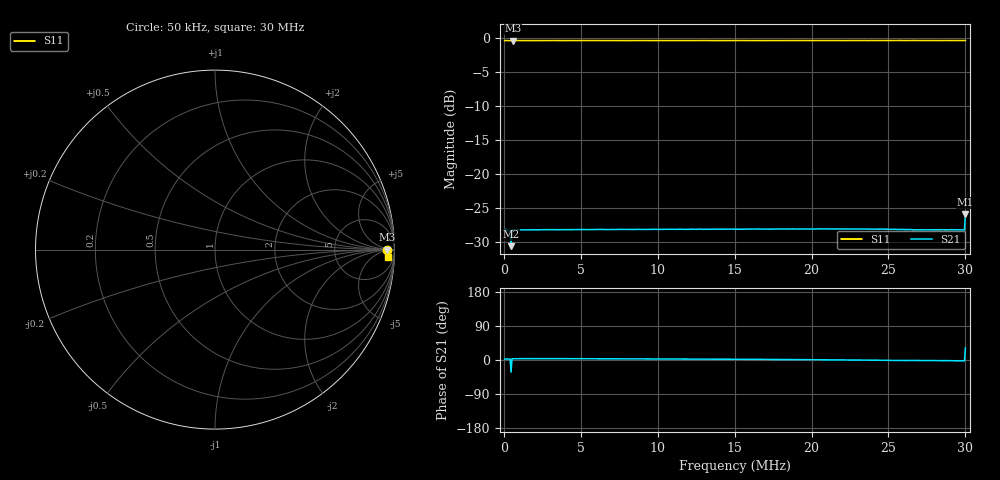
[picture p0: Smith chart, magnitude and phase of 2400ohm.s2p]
# HZ S RI R 50
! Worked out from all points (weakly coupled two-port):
!   501 points, 50 kHz to 30 MHz, reference 50 ohm
!   highest |S21| = -25.86 dB at 30 MHz (marker M1); lowest = -30.6 dB at 469.3 kHz (marker M2)
!   lowest |S11| = -0.4 dB at 589.1 kHz (marker M3), VSWR 48.28, Z = 2.41e+03 - j53.6 ohm
!   |S11| at or under -10 dB: nowhere
!   S12 and S22 are empty: the file has one direction only
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50000  0.961 -0.000898  0.0392 0.00148  0 0  0 0
289600  0.9596 -0.000703  0.0385 0.00184  0 0  0 0
349500  0.9599 -0.000409  0.0385 0.00153  0 0  0 0
469300  0.9604 -0.000975  0.0251 -0.0158  0 0  0 0
589100  0.9594 -0.000884  0.0389 0.00231  0 0  0 0
649000  0.9622 -0.00104  0.039 0.0023  0 0  0 0
708900  0.9615 -0.000693  0.039 0.00239  0 0  0 0
5081600  0.9608 -0.00765  0.0392 0.00232  0 0  0 0
1.00533e7  0.961 -0.014  0.0393 0.00196  0 0  0 0
1.5025e7  0.9609 -0.021  0.0396 0.0013  0 0  0 0
1.66423e7  0.9604 -0.0227  0.0396 0.00116  0 0  0 0
2.00566e7  0.9613 -0.0281  0.0396 0.000561  0 0  0 0
2.08952e7  0.9614 -0.0295  0.0398 0.000362  0 0  0 0
2.1614e7  0.9604 -0.0288  0.0396 0.000196  0 0  0 0
2.33511e7  0.9612 -0.0326  0.0397 -9.21e-05  0 0  0 0
2.50283e7  0.9605 -0.034  0.0395 -0.000619  0 0  0 0
2.74842e7  0.9612 -0.0366  0.0391 -0.000944  0 0  0 0
2.83228e7  0.9604 -0.0389  0.0391 -0.00103  0 0  0 0
2.85624e7  0.9617 -0.0401  0.0392 -0.00106  0 0  0 0
2.8802e7  0.9608 -0.0391  0.0391 -0.00115  0 0  0 0
2.98203e7  0.9611 -0.0407  0.039 -0.00142  0 0  0 0
3e7  0.9622 -0.0415  0.0431 0.0272  0 0  0 0
